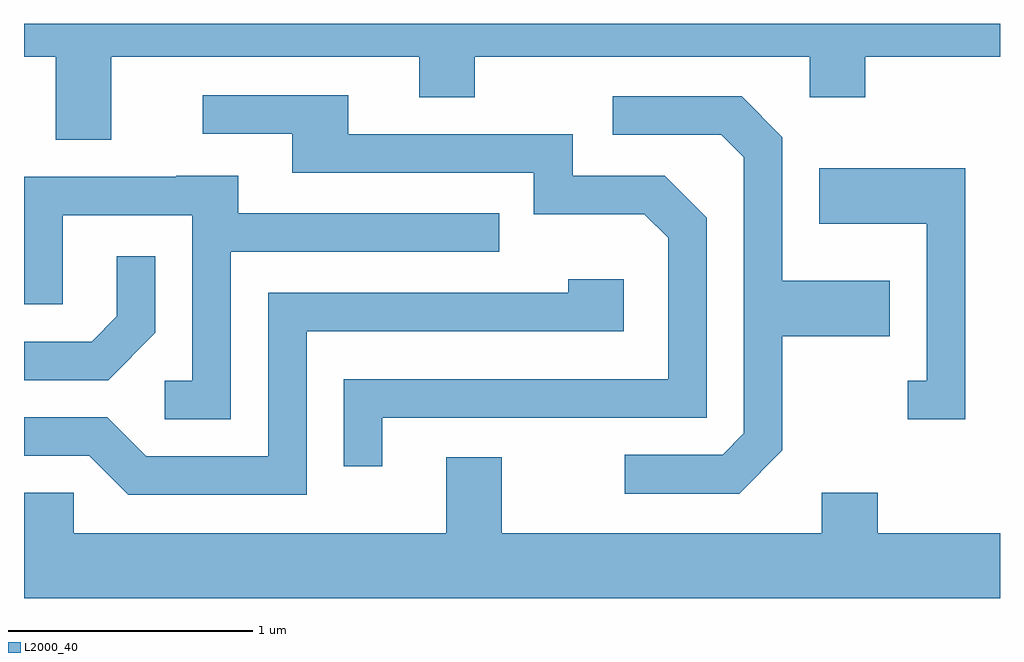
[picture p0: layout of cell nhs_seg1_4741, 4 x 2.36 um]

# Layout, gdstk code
import gdstk
lib = gdstk.Library(unit=1e-6, precision=1e-09)
def P(c, l, *ps):  # polygons
    for p in ps: c.add(gdstk.Polygon(p, *l))
L2000_40 = (2000, 40)

nhs_seg1_4741 = lib.new_cell('nhs_seg1_4741')
P(nhs_seg1_4741, L2000_40, [(327.969,899.576),(329.231,899.576),(329.231,899.411),(329.459,899.411),(329.459,899.576),(330.831,899.576),(330.831,899.411),(331.059,899.411),(331.059,899.576),(331.611,899.576),(331.611,899.712),(327.611,899.712),(327.611,899.576),(327.741,899.576),(327.741,899.236),(327.969,899.236)],
  [(329.079,898.096),(330.409,898.096),(330.409,898.917),(330.237,899.089),(329.859,899.089),(329.859,899.259),(328.939,899.259),(328.939,899.419),(328.343,899.419),(328.343,899.261),(328.711,899.261),(328.711,899.101),(329.701,899.101),(329.701,898.931),(330.154,898.931),(330.251,898.834),(330.251,898.254),(328.921,898.254),(328.921,897.898),(329.079,897.898)],
  [(330.719,897.964),(330.719,898.431),(331.159,898.431),(331.159,898.659),(330.719,898.659),(330.719,899.247),(330.552,899.414),(330.023,899.414),(330.023,899.256),(330.469,899.256),(330.561,899.164),(330.561,898.032),(330.474,897.944),(330.073,897.944),(330.073,897.786),(330.542,897.786)],
  [(331.469,899.119),(330.871,899.119),(330.871,898.891),(331.311,898.891),(331.311,898.249),(331.233,898.249),(331.233,898.091),(331.469,898.091)],
  [(328.459,898.776),(329.558,898.776),(329.558,898.934),(328.489,898.934),(328.489,899.089),(328.235,899.089),(328.235,899.084),(327.611,899.084),(327.611,898.561),(327.769,898.561),(327.769,898.926),(328.301,898.926),(328.301,898.249),(328.188,898.249),(328.188,898.091),(328.459,898.091)],
  [(328.149,898.444),(328.149,898.758),(327.991,898.758),(327.991,898.512),(327.889,898.409),(327.611,898.409),(327.611,898.251),(327.957,898.251)],
  [(328.769,898.451),(330.069,898.451),(330.069,898.664),(329.841,898.664),(329.841,898.609),(328.611,898.609),(328.611,897.939),(328.112,897.939),(327.952,898.099),(327.611,898.099),(327.611,897.941),(327.879,897.941),(328.039,897.781),(328.769,897.781)],
  [(331.611,897.624),(331.109,897.624),(331.109,897.789),(330.881,897.789),(330.881,897.624),(329.569,897.624),(329.569,897.934),(329.341,897.934),(329.341,897.624),(327.814,897.624),(327.814,897.789),(327.611,897.789),(327.611,897.356),(331.611,897.356)])

lib.write_gds('nhs_seg1_4741.gds')
